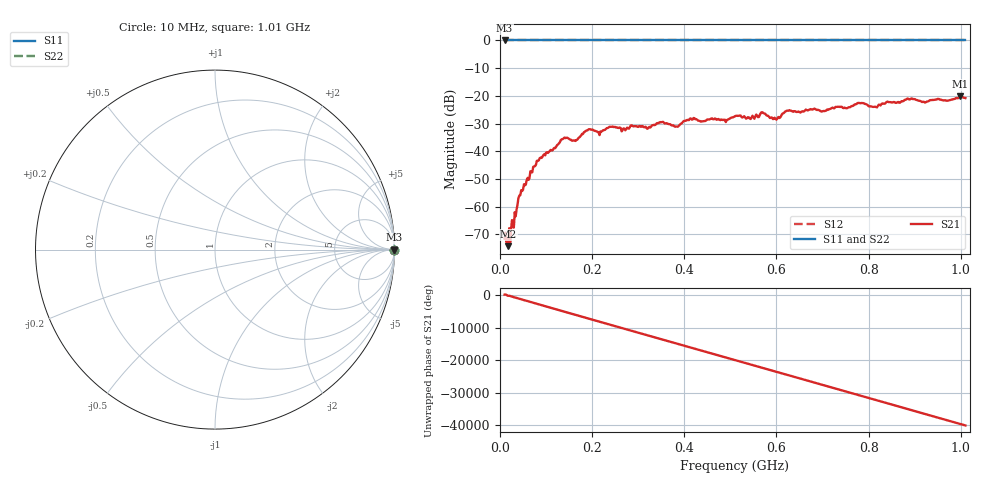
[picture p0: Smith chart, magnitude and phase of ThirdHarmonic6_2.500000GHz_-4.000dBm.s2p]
! 8/17/2025 4:47:14 AM
! C:\ANRITSUVNA\TEMP\TEMP.S2P
! CHANNEL.1
! TR.MEASUREMENT
! RAW.DATA
! RF.CORRECTION.OFF
! AVERAGING.OFF
! IF.BANDWIDTH: 5KHZ
! SWEEPTYPE:  FREQ.SWEEP(Linear)
! Reference Plane Port Info
! PORT:  PORT1  PORT2
! DISTANCE:  0  m  0  m
! TIME:  0  s  0  s
! PHASE.OFFSET:  0  deg.  0  deg.
! LOSS:  0  dB  0  dB
! REF.LOSS:  0  dB  0  dB
! REF.FREQ:  0  Hz  0  Hz
! Power Info
! POWER:  -20  dBm  -20  dBm
! EFF.POWER:  -20  dBm  -20  dBm
! SOURCE.ATTEN:  0  dB  0  dB
! TEST.ATTEN:  0  dB  0  dB
# GHZ S RI R 50.0
! FREQ.GHZ  S11RE  S11IM  S21RE  S21IM  S12RE  S12IM  S22RE  S22IM
!; PortSelection: Port_12
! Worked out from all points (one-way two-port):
!   501 points, 10 MHz to 1.01 GHz, reference 50 ohm
!   highest |S21| = -20.12 dB at 998 MHz (marker M1); lowest = -74.2 dB at 18 MHz (marker M2)
!   lowest |S11| = 0.0 dB at 10 MHz (marker M3)
!   |S11| at or under -10 dB: nowhere
!   |S22| runs from 0.0 to 0.0 dB; largest |S21 - S12| = 1.1
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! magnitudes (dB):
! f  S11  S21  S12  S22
! 10 MHz  0.0  -71.5  0.0  0.0
! 18 MHz  0.0  -74.2  0.0  0.0
! 44 MHz  0.0  -55.8  0.0  0.0
! 84 MHz  0.0  -43.3  0.0  0.0
! 136 MHz  0.0  -35.6  0.0  0.0
! 162 MHz  0.0  -36.1  0.0  0.0
! 178 MHz  0.0  -33.7  0.0  0.0
! 192 MHz  0.0  -32.1  0.0  0.0
! 322 MHz  0.0  -31.5  0.0  0.0
! 344 MHz  0.0  -29.8  0.0  0.0
! 384 MHz  0.0  -31.1  0.0  0.0
! 416 MHz  0.0  -28.5  0.0  0.0
! 510 MHz  0.0  -27.3  0.0  0.0
! 570 MHz  0.0  -26.0  0.0  0.0
! 596 MHz  0.0  -27.9  0.0  0.0
! 624 MHz  0.0  -25.3  0.0  0.0
! 678 MHz  0.0  -24.9  0.0  0.0
! 780 MHz  0.0  -22.6  0.0  0.0
! 814 MHz  0.0  -23.9  0.0  0.0
! 844 MHz  0.0  -22.2  0.0  0.0
! 998 MHz  0.0  -20.1  0.0  0.0
! 1.01 GHz  0.0  -20.8  0.0  0.0
